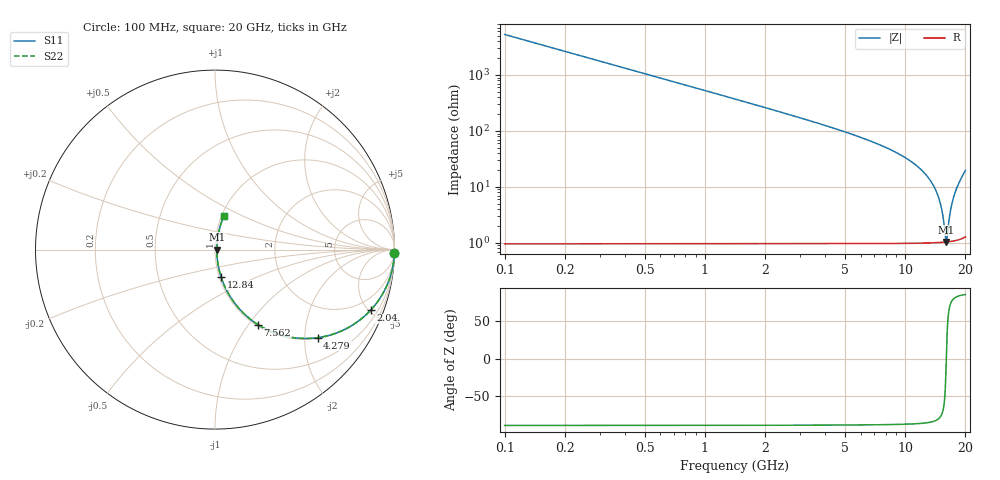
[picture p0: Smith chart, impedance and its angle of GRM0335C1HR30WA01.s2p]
!Murata Part Number: GRM0335C1HR30WA01
!These Parameters are Measured in Series Mode Connection
!Data Generated on Mar 30, 2021
!  o--ll--o
!Port1  Port2
!  o------o
!Operation Temp=25[degC], DC Bias Voltage=0[V]
!Freq. Start=100[MHz] Stop=20[GHz] 401[Steps]
# Hz S RI R 50
!Freq.(Hz) S11(Real) S11(Imag) S21(Real) S21(Imag) S12(Real) S12(Imag) S22(Real) S22(Imag)
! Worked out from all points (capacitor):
!   401 points, 100 MHz to 20 GHz, reference 50 ohm
!   read as one part in series: C = 300 fF near 199.5 MHz
!   lowest |Z| = 1.04 ohm at 16.07 GHz (marker M1)
!   series resonance near 16.06 GHz, so ESL is about 330 pH
!   S11 on the Smith chart (normalised r, x): 100 MHz: open; 2.04 GHz: 1.02, -5.12; 4.279 GHz: 1.02, -2.31; 7.562 GHz: 1.02, -1.11; 12.84 GHz: 1.02, -0.32; 20 GHz: 1.03, +0.39
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1e8  0.9996 -0.0188  0.000359 0.0188  0.000359 0.0188  0.9996 -0.0188
3.4875e8  0.9957 -0.0655  0.00435 0.0655  0.00435 0.0655  0.9957 -0.0655
6.97e8  0.9828 -0.1293  0.0172 0.1293  0.0172 0.1293  0.9828 -0.1293
1.24425e9  0.9468 -0.2232  0.0532 0.2232  0.0532 0.2232  0.9468 -0.2232
2.04025e9  0.8668 -0.338  0.1332 0.338  0.1332 0.338  0.8668 -0.338
3.43325e9  0.6851 -0.4612  0.3149 0.4612  0.3149 0.4612  0.6851 -0.4612
4.279e9  0.5719 -0.4907  0.4281 0.4907  0.4281 0.4907  0.5719 -0.4907
6.7665e9  0.3015 -0.4515  0.6985 0.4515  0.6985 0.4515  0.3015 -0.4515
7.5625e9  0.239 -0.4178  0.761 0.4178  0.761 0.4178  0.239 -0.4178
1.005e10  0.1057 -0.293  0.8943 0.293  0.8943 0.293  0.1057 -0.293
1.2836e10  0.0334 -0.151  0.9666 0.151  0.9666 0.151  0.0334 -0.151
1.338325e10  0.0258 -0.1244  0.9742 0.1244  0.9742 0.1244  0.0258 -0.1244
1.427875e10  0.0168 -0.0817  0.9832 0.0817  0.9832 0.0817  0.0168 -0.0817
1.497525e10  0.0125 -0.0494  0.9875 0.0494  0.9875 0.0494  0.0125 -0.0494
1.5423e10  0.011 -0.0289  0.989 0.0289  0.989 0.0289  0.011 -0.0289
1.59205e10  0.0103 -0.00635  0.9897 0.00635  0.9897 0.00635  0.0103 -0.00635
1.606975e10  0.0103 0.000373  0.9897 -0.000373  0.9897 -0.000373  0.0103 0.000373
1.616925e10  0.0103 0.00485  0.9897 -0.00485  0.9897 -0.00485  0.0103 0.00485
1.67165e10  0.0113 0.0294  0.9887 -0.0294  0.9887 -0.0294  0.0113 0.0294
1.7214e10  0.0133 0.0516  0.9867 -0.0516  0.9867 -0.0516  0.0133 0.0516
1.79105e10  0.0179 0.0829  0.9821 -0.0829  0.9821 -0.0829  0.0179 0.0829
2e10  0.0486 0.1849  0.9514 -0.1849  0.9514 -0.1849  0.0486 0.1849
